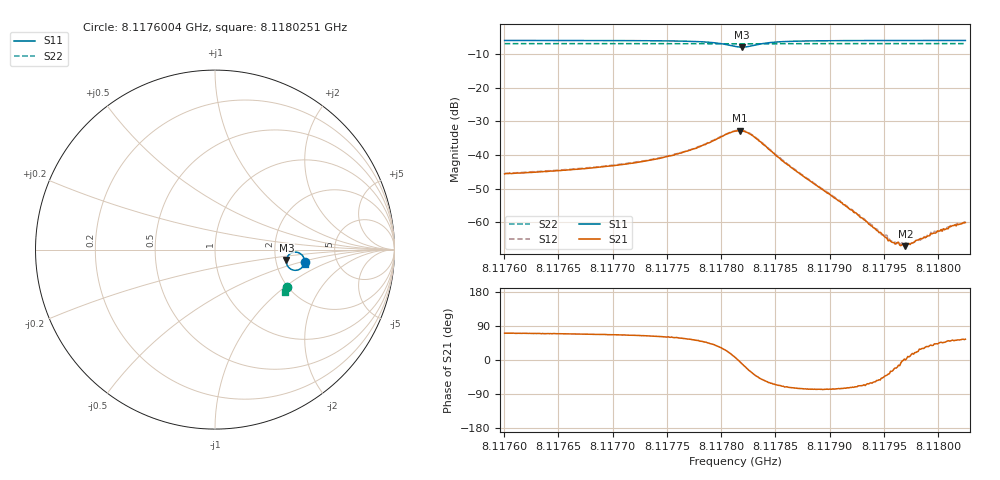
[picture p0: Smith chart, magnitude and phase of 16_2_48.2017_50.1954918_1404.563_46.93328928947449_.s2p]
#  HZ  S  RI  R  50.00
! Rohde & Schwarz Vector Network Analyzer
! Rohde-Schwarz,ZNB20-2Port,1311601062101988,3.16
! Created: UTC 3/20/2024, 11:36:45 AM
! freq[Hz]  re:S11  im:S11  re:S21  im:S21  re:S12  im:S12  re:S22  im:S22
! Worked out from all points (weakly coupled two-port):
!   401 points, 8.1176004 GHz to 8.1180251 GHz, reference 50 ohm
!   highest |S21| = -32.72 dB at 8.117817 GHz (marker M1); lowest = -67.1 dB at 8.1179699 GHz (marker M2)
!   lowest |S11| = -7.9 dB at 8.1178191 GHz (marker M3), VSWR 2.34, Z = 114 - j15.8 ohm
!   |S11| at or under -10 dB: nowhere
!   |S22| runs from -7.0 to -6.9 dB; largest |S21 - S12| = 0.0006
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8.11760038e9  0.5003 -0.0673  0.00173 0.00496  0.00183 0.00505  0.4015 -0.2087
8.11767152e9  0.4979 -0.077  0.00232 0.00582  0.00241 0.00591  0.3994 -0.2132
8.11771399e9  0.4947 -0.0849  0.00308 0.00676  0.00319 0.00688  0.3977 -0.2161
8.11774266e9  0.4901 -0.0928  0.00416 0.00787  0.00431 0.00798  0.3965 -0.2181
8.11777451e9  0.4766 -0.1065  0.00742 0.00995  0.00763 0.00995  0.3949 -0.2204
8.11779999e9  0.4379 -0.1145  0.0158 0.01  0.0163 0.0101  0.3923 -0.2218
8.11781273e9  0.4026 -0.0878  0.0225 0.00286  0.0229 0.00286  0.3906 -0.2209
8.11781698e9  0.3971 -0.0684  0.0231 -0.00157  0.0234 -0.00165  0.3904 -0.2201
8.1178191e9  0.3976 -0.0579  0.0227 -0.00383  0.0229 -0.00392  0.3906 -0.2199
8.11782441e9  0.4075 -0.0339  0.0197 -0.00878  0.0201 -0.00908  0.3912 -0.2192
8.11782972e9  0.4255 -0.0191  0.0153 -0.0114  0.0156 -0.0118  0.3919 -0.2192
8.11785732e9  0.4845 -0.0298  0.00286 -0.00756  0.00289 -0.00779  0.3937 -0.222
8.11788387e9  0.4956 -0.0475  0.000891 -0.00383  0.000874 -0.00396  0.3931 -0.2245
8.11792315e9  0.4989 -0.0616  0.000459 -0.00132  0.000463 -0.00135  0.3919 -0.2273
8.11794757e9  0.4993 -0.067  0.000461 -0.000515  0.000449 -0.00049  0.391 -0.2291
8.11795501e9  0.4993 -0.0684  0.000438 -0.000324  0.000455 -0.000341  0.3908 -0.2294
8.1179635e9  0.4993 -0.0699  0.000493 -0.000119  0.00047 -0.000109  0.3905 -0.2302
8.11796987e9  0.4993 -0.0711  0.000444 7.03e-07  0.000501 -3.4e-06  0.3903 -0.2307
8.11797836e9  0.4992 -0.0725  0.000487 0.000172  0.000497 0.000135  0.3901 -0.2309
8.11799535e9  0.4989 -0.0748  0.000539 0.000431  0.000515 0.000436  0.3895 -0.2323
8.11801234e9  0.4989 -0.0772  0.000547 0.000688  0.000561 0.000695  0.389 -0.2333
8.11802508e9  0.4987 -0.0787  0.000572 0.000814  0.000592 0.000821  0.3886 -0.2342
